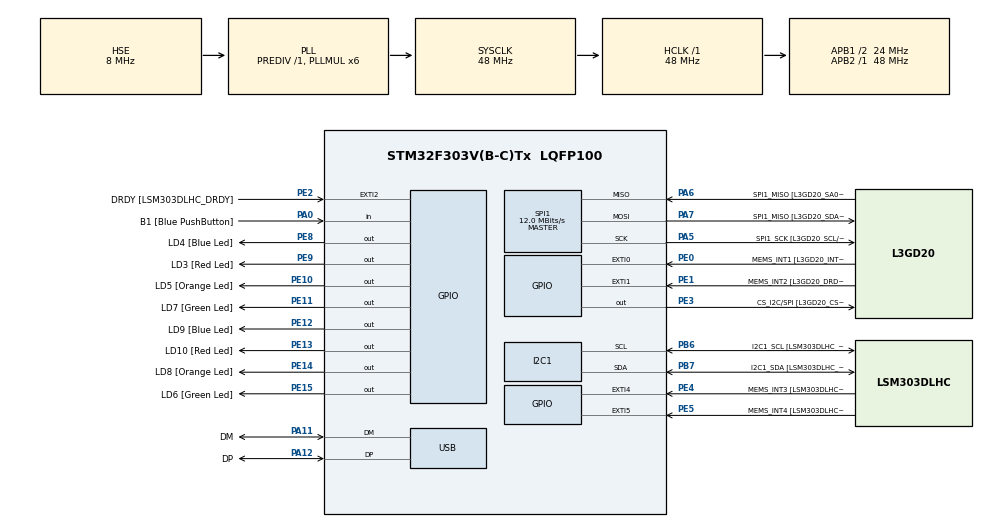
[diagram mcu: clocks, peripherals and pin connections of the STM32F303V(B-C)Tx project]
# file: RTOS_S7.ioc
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FREERTOS.Tasks01=USB_Task,0,128,Start_USB_Task,Default,NULL,Dynamic,NULL,NULL;LED_Task,0,128,Start_LED_Task,Default,NULL,Dynamic,NULL,NULL
FREERTOS.Timers01=PeriodicTimer,PT_Callback,osTimerPeriodic,Default,NULL,Dynamic,NULL;OnceTimer,OT_Callback,osTimerOnce,Default,NULL,Dynamic,NULL
FREERTOS.configTIMER_TASK_PRIORITY=6
FREERTOS.configUSE_NEWLIB_REENTRANT=1
FREERTOS.configUSE_TIMERS=1
I2C1.Timing-I2C=0x2000090E
Mcu.Family=STM32F3
Mcu.Name=STM32F303V(B-C)Tx
Mcu.Package=LQFP100
Mcu.UserConstants=myusb,$$_USB_IP_HANDLE_$$
NVIC.PriorityGroup=NVIC_PRIORITYGROUP_4
NVIC.TIM1_UP_TIM16_IRQn=true\:15\:0\:false\:false\:true\:false\:false\:true\:true
NVIC.TimeBase=TIM1_UP_TIM16_IRQn
NVIC.TimeBaseIP=TIM1
NVIC.USB_LP_CAN_RX0_IRQn=true\:5\:0\:false\:false\:true\:true\:false\:true\:true
PA0.GPIO_Label=B1 [Blue PushButton]
PA0.Signal=GPIO_Input
PA11.GPIO_Label=DM
PA11.Mode=Device
PA11.Signal=USB_DM
PA12.GPIO_Label=DP
PA12.Mode=Device
PA12.Signal=USB_DP
PA13.GPIO_Label=SWDIO
PA13.Mode=Serial_Wire
PA13.Signal=SYS_JTMS-SWDIO
PA14.GPIO_Label=SWCLK
PA14.Mode=Serial_Wire
PA14.Signal=SYS_JTCK-SWCLK
PA5.GPIO_Label=SPI1_SCK [L3GD20_SCL/SPC]
PA5.Mode=Full_Duplex_Master
PA5.Signal=SPI1_SCK
PA6.GPIO_Label=SPI1_MISO [L3GD20_SA0/SDO]
PA6.Mode=Full_Duplex_Master
PA6.Signal=SPI1_MISO
PA7.GPIO_Label=SPI1_MISO [L3GD20_SDA/SDI/SDO]
PA7.Mode=Full_Duplex_Master
PA7.Signal=SPI1_MOSI
PB3.GPIO_Label=SWO
PB3.Signal=SYS_JTDO-TRACESWO
PB6.GPIO_Label=I2C1_SCL [LSM303DLHC_SCL]
PB6.GPIO_Pu=GPIO_PULLUP
PB6.Mode=I2C
PB6.Signal=I2C1_SCL
PB7.GPIO_Label=I2C1_SDA [LSM303DLHC_SDA]
PB7.GPIO_Pu=GPIO_PULLUP
PB7.Mode=I2C
PB7.Signal=I2C1_SDA
PC14-OSC32_IN.GPIO_Label=OSC32_IN
PC14-OSC32_IN.Signal=RCC_OSC32_IN
PC15-OSC32_OUT.GPIO_Label=OSC32_OUT
PC15-OSC32_OUT.Signal=RCC_OSC32_OUT
PE0.GPIO_Label=MEMS_INT1 [L3GD20_INT1]
PE0.GPIO_ModeDefaultEXTI=GPIO_MODE_EVT_RISING
PE0.Signal=GPXTI0
PE1.GPIO_Label=MEMS_INT2 [L3GD20_DRDY/INT2]
PE1.GPIO_ModeDefaultEXTI=GPIO_MODE_EVT_RISING
PE1.Signal=GPXTI1
PE10.GPIO_Label=LD5 [Orange Led]
PE10.Signal=GPIO_Output
PE11.GPIO_Label=LD7 [Green Led]
PE11.Signal=GPIO_Output
PE12.GPIO_Label=LD9 [Blue Led]
PE12.Signal=GPIO_Output
PE13.GPIO_Label=LD10 [Red Led]
PE13.Signal=GPIO_Output
PE14.GPIO_Label=LD8 [Orange Led]
PE14.Signal=GPIO_Output
PE15.GPIO_Label=LD6 [Green Led]
PE15.Signal=GPIO_Output
PE2.GPIO_Label=DRDY [LSM303DLHC_DRDY]
PE2.GPIO_ModeDefaultEXTI=GPIO_MODE_EVT_RISING
PE2.Signal=GPXTI2
PE3.GPIO_Label=CS_I2C/SPI [L3GD20_CS_I2C/SPI]
PE3.Signal=GPIO_Output
PE4.GPIO_Label=MEMS_INT3 [LSM303DLHC_INT1]
PE4.GPIO_ModeDefaultEXTI=GPIO_MODE_EVT_RISING
PE4.Signal=GPXTI4
PE5.GPIO_Label=MEMS_INT4 [LSM303DLHC_INT2]
PE5.GPIO_ModeDefaultEXTI=GPIO_MODE_EVT_RISING
PE5.Signal=GPXTI5
PE8.GPIO_Label=LD4 [Blue Led]
PE8.Signal=GPIO_Output
PE9.GPIO_Label=LD3 [Red Led]
PE9.Signal=GPIO_Output
PF0-OSC_IN.GPIO_Label=OSC_IN
PF0-OSC_IN.Mode=HSE-External-Clock-Source
PF0-OSC_IN.Signal=RCC_OSC_IN
PF1-OSC_OUT.GPIO_Label=OSC_OUT
PF1-OSC_OUT.Signal=RCC_OSC_OUT
ProjectManager.HeapSize=0x200
ProjectManager.StackSize=0x400
ProjectManager.TargetToolchain=STM32CubeIDE
RCC.AHBFreq_Value=48000000
RCC.APB1CLKDivider=RCC_HCLK_DIV2
RCC.APB1Freq_Value=24000000
RCC.APB1TimFreq_Value=48000000
RCC.APB2Freq_Value=48000000
RCC.APB2TimFreq_Value=48000000
RCC.CortexFreq_Value=48000000
RCC.HCLKFreq_Value=48000000
RCC.HSE_VALUE=8000000
RCC.HSI_VALUE=8000000
RCC.LSE_VALUE=32768
RCC.PLLMUL=RCC_PLL_MUL6
RCC.SYSCLKFreq_VALUE=48000000
RCC.SYSCLKSourceVirtual=RCC_SYSCLKSOURCE_PLLCLK
RCC.USBFreq_Value=48000000
SPI1.BaudRatePrescaler=SPI_BAUDRATEPRESCALER_4
SPI1.BaudRatePrescaler-Full_Duplex_Master=SPI_BAUDRATEPRESCALER_2
SPI1.CalculateBaudRate=12.0 MBits/s
SPI1.CalculateBaudRate-Full_Duplex_Master=24.0 MBits/s
SPI1.Direction=SPI_DIRECTION_2LINES
SPI1.Mode=SPI_MODE_MASTER
SPI1.Mode-Full_Duplex_Master=SPI_MODE_MASTER
SPI1.VirtualType=VM_MASTER
USB_DEVICE.CLASS_NAME_FS=CDC
USB_DEVICE.PRODUCT_STRING_CDC_FS=STM32F3 Discovery
USB_DEVICE.VirtualMode=Cdc
USB_DEVICE.VirtualModeFS=Cdc_FS
VP_FREERTOS_VS_CMSIS_V1.Mode=CMSIS_V1
VP_SYS_VS_tim1.Mode=TIM1
VP_USB_DEVICE_VS_USB_DEVICE_CDC_FS.Mode=CDC_FS
board=STM32F3DISCOVERY

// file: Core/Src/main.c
/* USER CODE BEGIN Header */
/**
  ******************************************************************************
  * @file           : main.c
  * @brief          : Main program body
  ******************************************************************************
  * @attention
  *
  * Copyright (c) 2024 STMicroelectronics.
  * All rights reserved.
  *
  * This software is licensed under terms that can be found in the LICENSE file
  * in the root directory of this software component.
  * If no LICENSE file comes with this software, it is provided AS-IS.
  *
  ******************************************************************************
  */
/* USER CODE END Header */
#include "main.h"
#include "cmsis_os.h"
#include "usb_device.h"

/* USER CODE BEGIN Includes */
#include "usbd_cdc_if.h"
#include "string.h"

#include "FreeRTOS.h"
#include "task.h"
#include "timers.h"
#include "queue.h"
#include "semphr.h"
#include "event_groups.h"

/* USER CODE END Includes */

I2C_HandleTypeDef hi2c1;

SPI_HandleTypeDef hspi1;
/*
 * ***************************************************
osThreadId USB_TaskHandle;
osThreadId LED_TaskHandle;
osTimerId PeriodicTimerHandle;
osTimerId OnceTimerHandle;
 * ***************************************************
*/
/* USER CODE BEGIN PV */
int count = 0;
uint8_t USB_RX_Buffer[64];

// Timer Handles
xTimerHandle PTHandle;
xTimerHandle OTHandle;

// Task Handles
xTaskHandle USB_Handle;
xTaskHandle LED_Handle;

/* USER CODE END PV */

void SystemClock_Config(void);
static void MX_GPIO_Init(void);
static void MX_I2C1_Init(void);
static void MX_SPI1_Init(void);
//void Start_USB_Task(void const * argument);
//void Start_LED_Task(void const * argument);
//void PT_Callback(void const * argument);
//void OT_Callback(void const * argument);
/* USER CODE BEGIN PFP */

void Start_USB_Task(void * argument)
{
  MX_USB_DEVICE_Init();
  xTimerStart(PTHandle, 0);
  while(1)
  {
	  uint8_t data[50];
	  sprintf((char *) data, "Counter = %d\r\n", count);
	  CDC_Transmit_FS((uint8_t *) data, strlen((char *)data));
	  count++;
	  vTaskDelay(pdMS_TO_TICKS(2000));
  }
}

void Start_LED_Task(void * argument)
{
	while(1) {
		if(HAL_GPIO_ReadPin(B1_GPIO_Port, B1_Pin)) {
			HAL_GPIO_WritePin(LD5_GPIO_Port, LD5_Pin, GPIO_PIN_SET);
			xTimerStart(OTHandle, 0);
		}
		HAL_GPIO_TogglePin(LD3_GPIO_Port, LD3_Pin);
		vTaskDelay(pdMS_TO_TICKS(20));
	}
}

void Timer_Callback(xTimerHandle xtimer) {
	if(xtimer == OTHandle) {
		HAL_GPIO_WritePin(LD5_GPIO_Port, LD5_Pin, GPIO_PIN_RESET);
	}
	else if(xtimer == PTHandle) {
		uint8_t data[50];
		sprintf((char *) data, "Periodic Timer\r\n");
		CDC_Transmit_FS((uint8_t *) data, strlen((char *)data));
		HAL_GPIO_TogglePin(LD9_GPIO_Port, LD9_Pin);
	}

}

/* USER CODE END PFP */

int main(void)
{

  /* MCU Configuration--------------------------------------------------------*/

  /* Reset of all peripherals, Initializes the Flash interface and the Systick. */
  HAL_Init();

  /* Configure the system clock */
  SystemClock_Config();

  /* Initialize all configured peripherals */
  MX_GPIO_Init();
  MX_I2C1_Init();
  MX_SPI1_Init();
  /* USER CODE BEGIN 2 */

  // Create Timers
  PTHandle = xTimerCreate("PT_timer1", pdMS_TO_TICKS(1000), pdTRUE, (void *) 1, Timer_Callback);
  OTHandle = xTimerCreate("OT_timer2", pdMS_TO_TICKS(4000), pdFALSE, (void *) 2, Timer_Callback);

  // Create Tasks
  xTaskCreate(Start_USB_Task, "USB", 128, NULL, 1, &USB_Handle);
  xTaskCreate(Start_LED_Task, "LED", 128, NULL, 1, &LED_Handle);

  // Start Scheduler
  vTaskStartScheduler();

  /* USER CODE END 2 */

  /* Create the timer(s) */
  /* definition and creation of PeriodicTimer */

/*
 * ***************************************************
  osTimerDef(PeriodicTimer, PT_Callback);
  PeriodicTimerHandle = osTimerCreate(osTimer(PeriodicTimer), osTimerPeriodic, NULL);

   definition and creation of OnceTimer
  osTimerDef(OnceTimer, OT_Callback);
  OnceTimerHandle = osTimerCreate(osTimer(OnceTimer), osTimerOnce, NULL);
 * ***************************************************
*/

  /* Create the thread(s) */
  /* definition and creation of USB_Task */
/*
 * ***************************************************
  osThreadDef(USB_Task, Start_USB_Task, osPriorityNormal, 0, 128);
  USB_TaskHandle = osThreadCreate(osThread(USB_Task), NULL);

   definition and creation of LED_Task
  osThreadDef(LED_Task, Start_LED_Task, osPriorityNormal, 0, 128);
  LED_TaskHandle = osThreadCreate(osThread(LED_Task), NULL);

 * ***************************************************
  */

  /* Start scheduler */
/*
 * ***************************************************
  osKernelStart();
 * ***************************************************
 */
  /* We should never get here as control is now taken by the scheduler */
  /* Infinite loop */
  while (1)
  {

  }
}

void SystemClock_Config(void)
{
  RCC_OscInitTypeDef RCC_OscInitStruct = {0};
  RCC_ClkInitTypeDef RCC_ClkInitStruct = {0};
  RCC_PeriphCLKInitTypeDef PeriphClkInit = {0};

  /** Initializes the RCC Oscillators according to the specified parameters
  * in the RCC_OscInitTypeDef structure.
  */
  RCC_OscInitStruct.OscillatorType = RCC_OSCILLATORTYPE_HSI|RCC_OSCILLATORTYPE_HSE;
  RCC_OscInitStruct.HSEState = RCC_HSE_BYPASS;
  RCC_OscInitStruct.HSEPredivValue = RCC_HSE_PREDIV_DIV1;
  RCC_OscInitStruct.HSIState = RCC_HSI_ON;
  RCC_OscInitStruct.HSICalibrationValue = RCC_HSICALIBRATION_DEFAULT;
  RCC_OscInitStruct.PLL.PLLState = RCC_PLL_ON;
  RCC_OscInitStruct.PLL.PLLSource = RCC_PLLSOURCE_HSE;
  RCC_OscInitStruct.PLL.PLLMUL = RCC_PLL_MUL6;
  if (HAL_RCC_OscConfig(&RCC_OscInitStruct) != HAL_OK)
  {
    Error_Handler();
  }

  /** Initializes the CPU, AHB and APB buses clocks
  */
  RCC_ClkInitStruct.ClockType = RCC_CLOCKTYPE_HCLK|RCC_CLOCKTYPE_SYSCLK
                              |RCC_CLOCKTYPE_PCLK1|RCC_CLOCKTYPE_PCLK2;
  RCC_ClkInitStruct.SYSCLKSource = RCC_SYSCLKSOURCE_PLLCLK;
  RCC_ClkInitStruct.AHBCLKDivider = RCC_SYSCLK_DIV1;
  RCC_ClkInitStruct.APB1CLKDivider = RCC_HCLK_DIV2;
  RCC_ClkInitStruct.APB2CLKDivider = RCC_HCLK_DIV1;

  if (HAL_RCC_ClockConfig(&RCC_ClkInitStruct, FLASH_LATENCY_1) != HAL_OK)
  {
    Error_Handler();
  }
  PeriphClkInit.PeriphClockSelection = RCC_PERIPHCLK_USB|RCC_PERIPHCLK_I2C1;
  PeriphClkInit.I2c1ClockSelection = RCC_I2C1CLKSOURCE_HSI;
  PeriphClkInit.USBClockSelection = RCC_USBCLKSOURCE_PLL;
  if (HAL_RCCEx_PeriphCLKConfig(&PeriphClkInit) != HAL_OK)
  {
    Error_Handler();
  }
}

static void MX_I2C1_Init(void)
{

  hi2c1.Instance = I2C1;
  hi2c1.Init.Timing = 0x2000090E;
  hi2c1.Init.OwnAddress1 = 0;
  hi2c1.Init.AddressingMode = I2C_ADDRESSINGMODE_7BIT;
  hi2c1.Init.DualAddressMode = I2C_DUALADDRESS_DISABLE;
  hi2c1.Init.OwnAddress2 = 0;
  hi2c1.Init.OwnAddress2Masks = I2C_OA2_NOMASK;
  hi2c1.Init.GeneralCallMode = I2C_GENERALCALL_DISABLE;
  hi2c1.Init.NoStretchMode = I2C_NOSTRETCH_DISABLE;
  if (HAL_I2C_Init(&hi2c1) != HAL_OK)
  {
    Error_Handler();
  }

  /** Configure Analogue filter
  */
  if (HAL_I2CEx_ConfigAnalogFilter(&hi2c1, I2C_ANALOGFILTER_ENABLE) != HAL_OK)
  {
    Error_Handler();
  }

  /** Configure Digital filter
  */
  if (HAL_I2CEx_ConfigDigitalFilter(&hi2c1, 0) != HAL_OK)
  {
    Error_Handler();
  }

}

static void MX_SPI1_Init(void)
{

  /* SPI1 parameter configuration*/
  hspi1.Instance = SPI1;
  hspi1.Init.Mode = SPI_MODE_MASTER;
  hspi1.Init.Direction = SPI_DIRECTION_2LINES;
  hspi1.Init.DataSize = SPI_DATASIZE_4BIT;
  hspi1.Init.CLKPolarity = SPI_POLARITY_LOW;
  hspi1.Init.CLKPhase = SPI_PHASE_1EDGE;
  hspi1.Init.NSS = SPI_NSS_SOFT;
  hspi1.Init.BaudRatePrescaler = SPI_BAUDRATEPRESCALER_4;
  hspi1.Init.FirstBit = SPI_FIRSTBIT_MSB;
  hspi1.Init.TIMode = SPI_TIMODE_DISABLE;
  hspi1.Init.CRCCalculation = SPI_CRCCALCULATION_DISABLE;
  hspi1.Init.CRCPolynomial = 7;
  hspi1.Init.CRCLength = SPI_CRC_LENGTH_DATASIZE;
  hspi1.Init.NSSPMode = SPI_NSS_PULSE_ENABLE;
  if (HAL_SPI_Init(&hspi1) != HAL_OK)
  {
    Error_Handler();
  }

}

static void MX_GPIO_Init(void)
{
  GPIO_InitTypeDef GPIO_InitStruct = {0};

  /* GPIO Ports Clock Enable */
  __HAL_RCC_GPIOE_CLK_ENABLE();
  __HAL_RCC_GPIOC_CLK_ENABLE();
  __HAL_RCC_GPIOF_CLK_ENABLE();
  __HAL_RCC_GPIOA_CLK_ENABLE();
  __HAL_RCC_GPIOB_CLK_ENABLE();

  /*Configure GPIO pin Output Level */
  HAL_GPIO_WritePin(GPIOE, CS_I2C_SPI_Pin|LD4_Pin|LD3_Pin|LD5_Pin
                          |LD7_Pin|LD9_Pin|LD10_Pin|LD8_Pin
                          |LD6_Pin, GPIO_PIN_RESET);

  /*Configure GPIO pins : DRDY_Pin MEMS_INT3_Pin MEMS_INT4_Pin MEMS_INT1_Pin
                           MEMS_INT2_Pin */
  GPIO_InitStruct.Pin = DRDY_Pin|MEMS_INT3_Pin|MEMS_INT4_Pin|MEMS_INT1_Pin
                          |MEMS_INT2_Pin;
  GPIO_InitStruct.Mode = GPIO_MODE_EVT_RISING;
  GPIO_InitStruct.Pull = GPIO_NOPULL;
  HAL_GPIO_Init(GPIOE, &GPIO_InitStruct);

  /*Configure GPIO pins : CS_I2C_SPI_Pin LD4_Pin LD3_Pin LD5_Pin
                           LD7_Pin LD9_Pin LD10_Pin LD8_Pin
                           LD6_Pin */
  GPIO_InitStruct.Pin = CS_I2C_SPI_Pin|LD4_Pin|LD3_Pin|LD5_Pin
                          |LD7_Pin|LD9_Pin|LD10_Pin|LD8_Pin
                          |LD6_Pin;
  GPIO_InitStruct.Mode = GPIO_MODE_OUTPUT_PP;
  GPIO_InitStruct.Pull = GPIO_NOPULL;
  GPIO_InitStruct.Speed = GPIO_SPEED_FREQ_LOW;
  HAL_GPIO_Init(GPIOE, &GPIO_InitStruct);

  /*Configure GPIO pin : B1_Pin */
  GPIO_InitStruct.Pin = B1_Pin;
  GPIO_InitStruct.Mode = GPIO_MODE_INPUT;
  GPIO_InitStruct.Pull = GPIO_NOPULL;
  HAL_GPIO_Init(B1_GPIO_Port, &GPIO_InitStruct);

}

//void Start_USB_Task(void const * argument)
//{
//  /* init code for USB_DEVICE */
//  MX_USB_DEVICE_Init();
//  /* USER CODE BEGIN 5 */
//  osTimerStart(PeriodicTimerHandle, 1000);
//  /* Infinite loop */
//  for(;;)
//  {
//	  uint8_t data[100];
//	  sprintf((char *) data, "Counter = %d\r\n", count);
//	  CDC_Transmit_FS((uint8_t *) data, strlen((char *)data));
//	  count++;
//	  osDelay(2000);
//  }
//  /* USER CODE END 5 */
//}
//
//
//
///* USER CODE BEGIN Header_Start_LED_Task */
///**
//* @brief Function implementing the LED_Task thread.
//* @param argument: Not used
//* @retval None
//*/
///* USER CODE END Header_Start_LED_Task */
//void Start_LED_Task(void const * argument)
//{
//  /* USER CODE BEGIN Start_LED_Task */
//  /* Infinite loop */
//  for(;;)
//  {
//	if(HAL_GPIO_ReadPin(B1_GPIO_Port, B1_Pin)) {
//		HAL_GPIO_WritePin(LD8_GPIO_Port, LD8_Pin, GPIO_PIN_SET);
//		osTimerStart(OnceTimerHandle, 4000);
//	}
//    osDelay(20);
//  }
//  /* USER CODE END Start_LED_Task */
//}
//
///* PT_Callback function */
//void PT_Callback(void const * argument)
//{
//  /* USER CODE BEGIN PT_Callback */
//	  uint8_t data[100];
//	  sprintf((char *) data, "Periodic Timer\r\n");
//	  CDC_Transmit_FS((uint8_t *) data, strlen((char *)data));
//  /* USER CODE END PT_Callback */
//}
//
///* OT_Callback function */
//void OT_Callback(void const * argument)
//{
//  /* USER CODE BEGIN OT_Callback */
//	HAL_GPIO_WritePin(LD8_GPIO_Port, LD8_Pin, GPIO_PIN_RESET);
//
//
//  /* USER CODE END OT_Callback */
//}

void HAL_TIM_PeriodElapsedCallback(TIM_HandleTypeDef *htim)
{
  if (htim->Instance == TIM1) {
    HAL_IncTick();
  }
}

void Error_Handler(void)
{
  __disable_irq();
  while (1)
  {
  }
}
